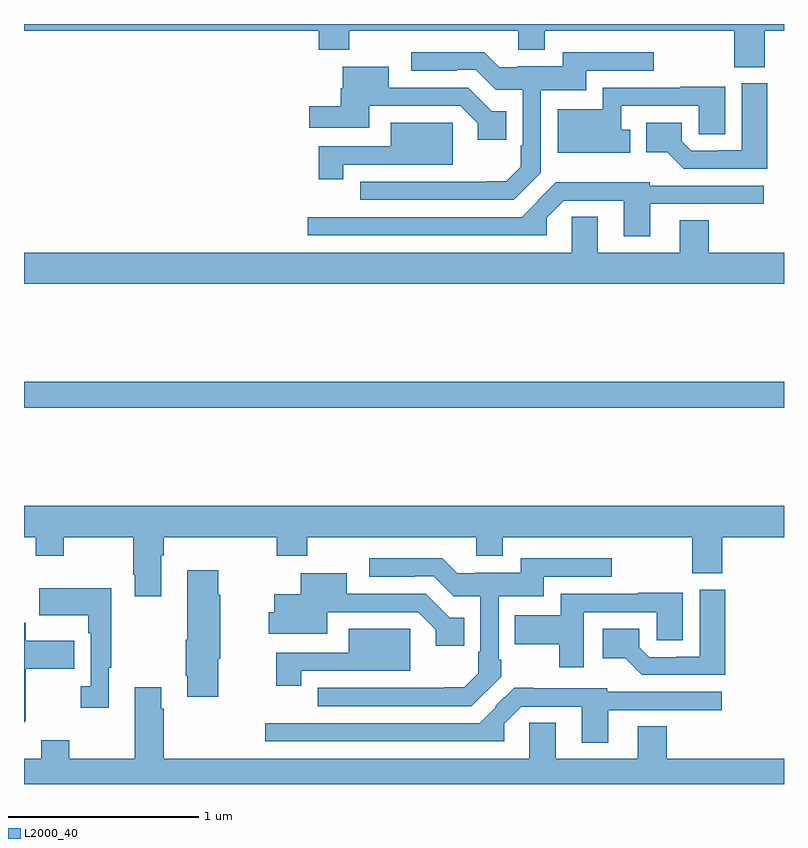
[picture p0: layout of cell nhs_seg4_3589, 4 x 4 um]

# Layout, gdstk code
import gdstk
lib = gdstk.Library(unit=1e-6, precision=1e-09)
def R(c, l, rs):  # rectangles x0, y0, x1, y1
    for r in rs: c.add(gdstk.rectangle(r[:2], r[2:], *l))
def P(c, l, *ps):  # polygons
    for p in ps: c.add(gdstk.Polygon(p, *l))
L2000_40 = (2000, 40)

nhs_seg4_3589 = lib.new_cell('nhs_seg4_3589')
R(nhs_seg4_3589, L2000_40, [(301,750.88,305,751.016)])
P(nhs_seg4_3589, L2000_40, [(304.898,752.864),(305,752.864),(305,752.9),(301,752.9),(301,752.864),(302.552,752.864),(302.552,752.765),(302.712,752.765),(302.712,752.864),(303.602,752.864),(303.602,752.765),(303.742,752.765),(303.742,752.864),(304.738,752.864),(304.738,752.672),(304.898,752.672)],
  [(303.72,752.117),(303.72,752.552),(303.958,752.552),(303.958,752.655),(304.315,752.655),(304.315,752.751),(303.836,752.751),(303.836,752.677),(303.595,752.677),(303.595,752.673),(303.501,752.673),(303.422,752.752),(303.039,752.752),(303.039,752.655),(303.278,752.655),(303.278,752.658),(303.378,752.658),(303.483,752.553),(303.624,752.553),(303.624,752.26),(303.614,752.26),(303.614,752.148),(303.538,752.073),(303.434,752.073),(303.434,752.07),(302.769,752.07),(302.769,751.974),(303.577,751.974)],
  [(303.539,752.44),(303.462,752.44),(303.337,752.565),(302.92,752.565),(302.92,752.674),(302.678,752.674),(302.678,752.562),(302.666,752.562),(302.666,752.468),(302.502,752.468),(302.502,752.354),(302.818,752.354),(302.818,752.469),(303.297,752.469),(303.389,752.377),(303.389,752.292),(303.539,752.292)],
  [(304.913,752.587),(304.778,752.587),(304.778,752.235),(304.654,752.235),(304.654,752.232),(304.512,752.232),(304.461,752.283),(304.461,752.38),(304.276,752.38),(304.276,752.225),(304.386,752.225),(304.472,752.139),(304.913,752.139)],
  [(304.191,752.344),(304.144,752.344),(304.144,752.469),(304.551,752.469),(304.551,752.32),(304.69,752.32),(304.69,752.57),(304.454,752.57),(304.454,752.565),(304.047,752.565),(304.047,752.452),(303.809,752.452),(303.809,752.222),(304.191,752.222)],
  [(302.68,752.16),(303.034,752.16),(303.034,752.159),(303.256,752.159),(303.256,752.38),(302.93,752.38),(302.93,752.256),(302.55,752.256),(302.55,752.082),(302.68,752.082)],
  [(304.297,751.953),(304.894,751.953),(304.894,752.049),(304.293,752.049),(304.293,752.068),(303.799,752.068),(303.703,751.972),(303.706,751.969),(303.621,751.884),(302.493,751.884),(302.493,751.788),(303.75,751.788),(303.75,751.881),(303.84,751.971),(304.157,751.971),(304.157,751.782),(304.297,751.782)],
  [(305,751.696),(304.604,751.696),(304.604,751.868),(304.451,751.868),(304.451,751.696),(304.021,751.696),(304.021,751.886),(303.882,751.886),(303.882,751.696),(301,751.696),(301,751.532),(305,751.532)],
  [(301,750.2),(301.062,750.2),(301.062,750.101),(301.209,750.101),(301.209,750.2),(301.576,750.2),(301.576,750.001),(301.583,750.001),(301.583,749.889),(301.723,749.889),(301.723,750.104),(301.736,750.104),(301.736,750.2),(302.33,750.2),(302.33,750.101),(302.49,750.101),(302.49,750.2),(303.38,750.2),(303.38,750.101),(303.52,750.101),(303.52,750.2),(304.516,750.2),(304.516,750.008),(304.676,750.008),(304.676,750.2),(305,750.2),(305,750.364),(301,750.364)],
  [(303.511,749.465),(303.511,749.554),(303.498,749.554),(303.498,749.888),(303.736,749.888),(303.736,749.991),(304.093,749.991),(304.093,750.087),(303.614,750.087),(303.614,750.013),(303.373,750.013),(303.373,750.009),(303.279,750.009),(303.2,750.088),(302.817,750.088),(302.817,749.991),(303.056,749.991),(303.056,749.994),(303.156,749.994),(303.261,749.889),(303.402,749.889),(303.402,749.596),(303.392,749.596),(303.392,749.484),(303.316,749.409),(303.212,749.409),(303.212,749.406),(302.547,749.406),(302.547,749.31),(303.355,749.31)],
  [(302.022,749.559),(302.032,749.559),(302.032,749.895),(302.022,749.895),(302.022,750.025),(301.859,750.025),(301.859,749.659),(301.852,749.659),(301.852,749.47),(301.859,749.47),(301.859,749.358),(302.022,749.358)],
  [(303.317,749.776),(303.24,749.776),(303.115,749.901),(302.698,749.901),(302.698,750.01),(302.456,750.01),(302.456,749.899),(302.318,749.899),(302.318,749.804),(302.288,749.804),(302.288,749.69),(302.596,749.69),(302.596,749.805),(303.075,749.805),(303.167,749.713),(303.167,749.628),(303.317,749.628)],
  [(301.447,749.513),(301.459,749.513),(301.459,749.929),(301.081,749.929),(301.081,749.789),(301.338,749.789),(301.338,749.693),(301.35,749.693),(301.35,749.414),(301.299,749.414),(301.299,749.301),(301.447,749.301)],
  [(304.691,749.923),(304.556,749.923),(304.556,749.571),(304.432,749.571),(304.432,749.568),(304.29,749.568),(304.239,749.619),(304.239,749.716),(304.047,749.716),(304.047,749.561),(304.164,749.561),(304.25,749.475),(304.691,749.475)],
  [(303.946,749.805),(304.329,749.805),(304.329,749.656),(304.468,749.656),(304.468,749.906),(304.232,749.906),(304.232,749.901),(303.824,749.901),(303.824,749.788),(303.583,749.788),(303.583,749.636),(303.817,749.636),(303.817,749.514),(303.946,749.514)],
  [(301.009,749.233),(301.009,749.506),(301.265,749.506),(301.265,749.653),(301.009,749.653),(301.009,749.749),(301,749.749),(301,749.224)],
  [(302.458,749.496),(302.812,749.496),(302.812,749.495),(303.034,749.495),(303.034,749.716),(302.708,749.716),(302.708,749.592),(302.328,749.592),(302.328,749.418),(302.458,749.418)],
  [(305,749.032),(304.382,749.032),(304.382,749.204),(304.229,749.204),(304.229,749.032),(303.799,749.032),(303.799,749.222),(303.66,749.222),(303.66,749.032),(301.736,749.032),(301.736,749.297),(301.723,749.297),(301.723,749.41),(301.583,749.41),(301.583,749.032),(301.239,749.032),(301.239,749.131),(301.091,749.131),(301.091,749.032),(301,749.032),(301,748.9),(305,748.9)],
  [(304.075,749.289),(304.672,749.289),(304.672,749.385),(304.071,749.385),(304.071,749.403),(303.679,749.403),(303.679,749.406),(303.579,749.406),(303.481,749.308),(303.484,749.305),(303.399,749.22),(302.271,749.22),(302.271,749.124),(303.528,749.124),(303.528,749.217),(303.618,749.307),(303.935,749.307),(303.935,749.118),(304.075,749.118)])

lib.write_gds('nhs_seg4_3589.gds')
